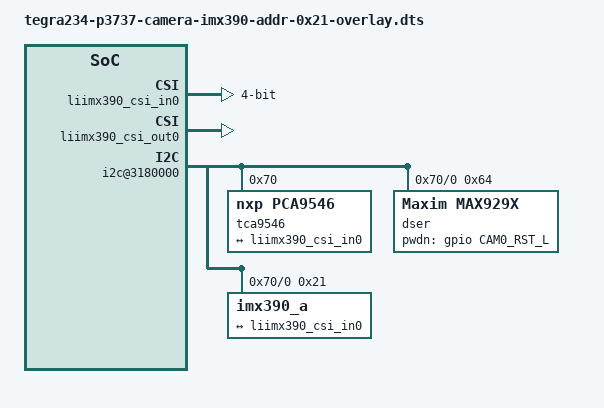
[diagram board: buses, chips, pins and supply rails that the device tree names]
// SPDX-License-Identifier: GPL-2.0-only
// SPDX-FileCopyrightText: Copyright (c) 2018-2024, NVIDIA CORPORATION & AFFILIATES. All rights reserved.

/dts-v1/;
/plugin/;

#include <dt-bindings/clock/tegra234-clock.h>
#include <dt-bindings/gpio/tegra234-gpio.h>
#include <dt-bindings/tegra234-p3737-0000+p3701-0000.h>

#define CAM0_RST_L	TEGRA234_MAIN_GPIO(H, 3)

/* camera control gpio definitions */
/ {
	overlay-name = "Jetson Camera IMX390 sensor 0x21";
	jetson-header-name = "Jetson AGX CSI Connector";
	compatible = JETSON_COMPATIBLE;

	fragment@0 {
		target-path = "/";

		__overlay__ {
			tegra-capture-vi {
				num-channels = <1>;
				ports {
					status = "okay";
					port@0 {
						status = "okay";
						liimx390_vi_in0: endpoint {
							status = "okay";
							port-index = <0>;
							bus-width = <4>;
							remote-endpoint = <&liimx390_csi_out0>;
						};
					};
				};
			};
			tegra-camera-platform {
				modules {
					status = "okay";
					module0 {
						badge = "imx390_rear";
						position = "rear";
						orientation = "1";
						status = "okay";
						drivernode0 {
							status = "okay";
							/* Declare PCL support driver (classically known as guid) */
							pcl_id = "v4l2_sensor";
							/* Declare the device-tree hierarchy to driver instance */
							sysfs-device-tree = "/sys/firmware/devicetree/base/bus@0/i2c@3180000/tca9546@70/i2c@0/imx390_a@21";
						};
					};
				};
			};
			bus@0{
				host1x@13e00000 {
					nvcsi@15a00000 {
						num-channels = <1>;
						channel@0 {
							status = "okay";
							ports {
								status = "okay";
								port@0 {
									status = "okay";
									liimx390_csi_in0: endpoint@0 {
										status = "okay";
										port-index = <0>;
										bus-width = <4>;
										remote-endpoint = <&liimx390_imx390_out0>;
									};
								};
								port@1 {
									status = "okay";
									liimx390_csi_out0: endpoint@1 {
										status = "okay";
										remote-endpoint = <&liimx390_vi_in0>;
									};
								};
							};
						};
					};
				};

				i2c@3180000 {
					tca9546@70 {
						status = "okay";
						compatible = "nxp,pca9546";
						reg = <0x70>;
						#address-cells = <1>;
						#size-cells = <0>;
						skip_mux_detect = "yes";
						i2c@0 {
							reg = <0>;
							i2c-mux,deselect-on-exit;
							#address-cells = <1>;
							#size-cells = <0>;
							status = "okay";
							dser: max929x_a@64 {
								compatible = "Maxim,max929x";
								reg = <0x64>;
								pwdn-gpios = <&gpio CAM0_RST_L GPIO_ACTIVE_HIGH>;
								status = "okay";
							};
							imx390_a@21 {
								/* Define any required hw resources needed by driver */
								/* ie. clocks, io pins, power sources */
								clocks = <&bpmp TEGRA234_CLK_EXTPERIPH1>,
										<&bpmp TEGRA234_CLK_EXTPERIPH1>;
								clock-names = "extperiph1", "pllp_grtba";
								mclk = "extperiph1";
								channel = "a";
								status = "okay";
								reg = <0x21>;
								nvidia,gmsl-dser-device = <&dser>;
								ports {
									status = "okay";
									port@0 {
										status = "okay";
										liimx390_imx390_out0: endpoint {
											status = "okay";
											port-index = <0>;
											bus-width = <4>;
											remote-endpoint = <&liimx390_csi_in0>;
										};
									};
								};
							};
						};
					};
				};
			};
		};
	};
};
